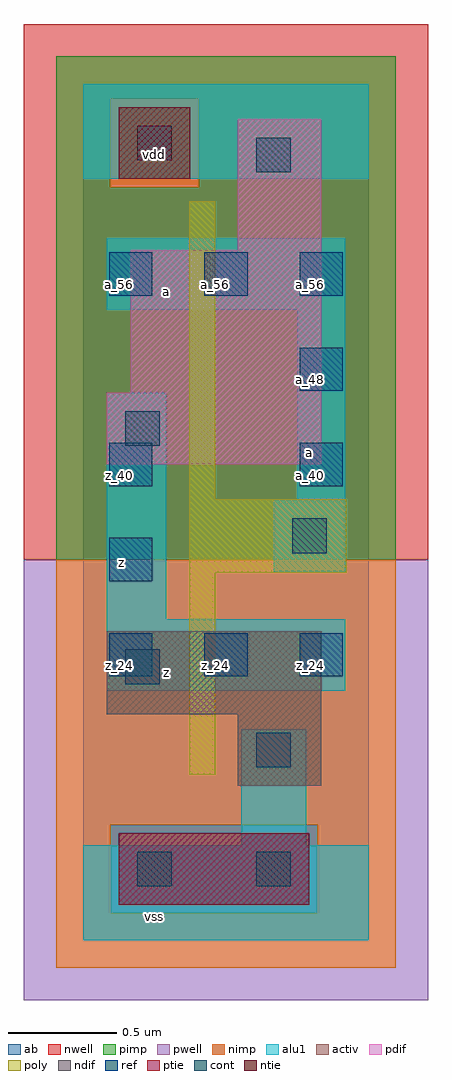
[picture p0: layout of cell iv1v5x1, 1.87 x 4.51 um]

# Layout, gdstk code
import gdstk
lib = gdstk.Library(unit=1e-6, precision=2.5e-09)
def R(c, l, rs):  # rectangles x0, y0, x1, y1
    for r in rs: c.add(gdstk.rectangle(r[:2], r[2:], *l))
def A(c, l, x, y, w, h, nx, ny, dx, dy):  # array of equal rectangles
    R(c, l, [(x+i*dx, y+j*dy, x+i*dx+w, y+j*dy+h) for i in range(nx) for j in range(ny)])
ndif = (3, 0)
pdif = (4, 0)
ntie = (5, 0)
ptie = (6, 0)
ref = (24, 0)
cont = (25, 0)
pwell = (41, 0)
nwell = (42, 0)
activ = (43, 0)
pimp = (44, 0)
nimp = (45, 0)
poly = (46, 0)
alu1 = (49, 0)
ab = (63, 0)

iv1v5x1 = lib.new_cell('iv1v5x1')
R(iv1v5x1, ndif, [(0.715,0.715,1.1,1.045), (0.11,1.045,1.1,1.43)])
R(iv1v5x1, pdif, [(0.11,2.2,1.1,2.53), (0.22,2.53,1.1,3.19), (0.715,3.19,1.1,3.795)])
R(iv1v5x1, ntie, [(0.165,3.52,0.495,3.85)])
R(iv1v5x1, ptie, [(0.165,0.165,1.045,0.495)])
A(iv1v5x1, ref, 0.12, 1.22, 0.2, 0.2, 3, 2, 0.44, 1.76)
R(iv1v5x1, ref, [(0.12,1.66,0.32,1.86), (0.12,2.1,0.32,2.3), (1,2.1,1.2,2.3), (1,2.54,1.2,2.74)])
R(iv1v5x1, cont, [(0.25,0.25,0.41,0.41), (0.8,0.25,0.96,0.41), (0.8,0.8,0.96,0.96), (0.195,1.185,0.355,1.345), (0.965,1.79,1.125,1.95), (0.195,2.285,0.355,2.445), (0.8,3.55,0.96,3.71), (0.25,3.605,0.41,3.765)])
R(iv1v5x1, pwell, [(-0.275,-0.275,1.595,1.76)])
R(iv1v5x1, nwell, [(-0.275,1.76,1.595,4.235)])
R(iv1v5x1, activ, [(0.165,0.165,1.045,0.495), (0.715,0.715,1.1,1.045), (0.11,1.045,1.1,1.43), (0.11,2.2,1.1,2.53), (0.22,2.53,1.1,3.19), (0.715,3.19,1.1,3.795), (0.165,3.52,0.495,3.85)])
R(iv1v5x1, pimp, [(0.125,0.125,1.085,0.535), (-0.125,1.76,1.445,3.48), (-0.125,3.48,0.125,3.89), (0.535,3.48,1.445,3.89), (-0.125,3.89,1.445,4.085)])
R(iv1v5x1, nimp, [(-0.125,-0.125,1.445,0.125), (-0.125,0.125,0.125,0.535), (1.085,0.125,1.445,0.535), (-0.125,0.535,1.445,1.76), (0.125,3.48,0.535,3.89)])
R(iv1v5x1, poly, [(0.49,0.765,0.61,1.7), (0.49,1.7,1.215,2.04), (0.49,2.04,0.61,3.415)])
R(iv1v5x1, alu1, [(0,0,1.32,0.44), (0.73,0.44,1.03,0.975), (0.11,1.155,1.21,1.485), (0.11,1.485,0.385,2.53), (0.88,1.705,1.21,2.035), (0.99,2.035,1.21,2.915), (0.11,2.915,1.21,3.245), (0,3.52,1.32,3.96)])
R(iv1v5x1, ab, [(0,0,1.32,3.96)])
iv1v5x1.add(gdstk.Label('vss', (0.33,0.11), layer=49, texttype=0))
iv1v5x1.add(gdstk.Label('z', (0.385,1.2375), layer=49, texttype=0))
iv1v5x1.add(gdstk.Label('a', (1.045,2.255), layer=49, texttype=0))
iv1v5x1.add(gdstk.Label('z', (0.1775,1.745), layer=49, texttype=0))
iv1v5x1.add(gdstk.Label('a', (0.385,2.9975), layer=49, texttype=0))
iv1v5x1.add(gdstk.Label('vdd', (0.33,3.63), layer=49, texttype=0))
iv1v5x1.add(gdstk.Label('z_24', (0.61,1.27), layer=24, texttype=0))
iv1v5x1.add(gdstk.Label('a_56', (0.61,3.03), layer=24, texttype=0))
iv1v5x1.add(gdstk.Label('z_24', (1.05,1.27), layer=24, texttype=0))
iv1v5x1.add(gdstk.Label('a_40', (1.05,2.15), layer=24, texttype=0))
iv1v5x1.add(gdstk.Label('a_48', (1.05,2.59), layer=24, texttype=0))
iv1v5x1.add(gdstk.Label('a_56', (1.05,3.03), layer=24, texttype=0))
iv1v5x1.add(gdstk.Label('z_24', (0.17,1.27), layer=24, texttype=0))
iv1v5x1.add(gdstk.Label('z_32', (0.17,1.71), layer=24, texttype=0))
iv1v5x1.add(gdstk.Label('z_40', (0.17,2.15), layer=24, texttype=0))
iv1v5x1.add(gdstk.Label('a_56', (0.17,3.03), layer=24, texttype=0))

lib.write_gds('iv1v5x1.gds')
